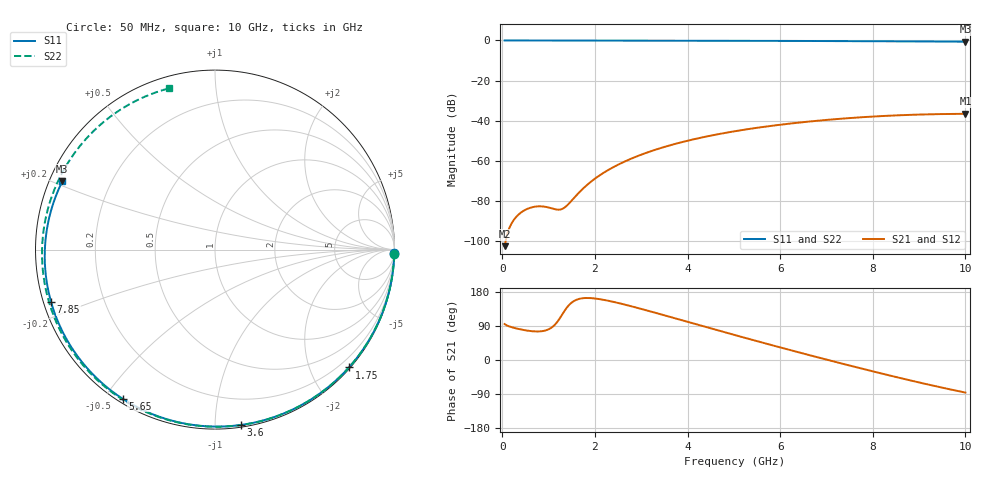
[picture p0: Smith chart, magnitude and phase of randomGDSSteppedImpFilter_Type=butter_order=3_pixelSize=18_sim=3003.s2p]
! freq	dB(S11)	phase(S11)	dB(S12)	phase(S12)
!  dB(S21)	phase(S21)	dB(S22)	phase(S22)
!S-par simulation data
#  GHz  S  DB  R 50
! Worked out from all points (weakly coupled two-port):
!   200 points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, 50 MHz to 10 GHz, reference 50 ohm
!   highest |S21| = -36.57 dB at 10 GHz (marker M1); lowest = -102.5 dB at 50 MHz (marker M2)
!   lowest |S11| = -0.6 dB at 10 GHz (marker M3), VSWR 28.30, Z = 1.85 + j10.6 ohm
!   |S11| at or under -10 dB: nowhere
!   |S22| runs from -0.6 to 0.0 dB; largest |S21 - S12| = 0
!   S11 on the Smith chart (normalised r, x): 50 MHz: 1, -98; 1.75 GHz: 0.02, -2.65; 3.6 GHz: 0.01, -1.16; 5.65 GHz: 0.01, -0.56; 7.85 GHz: 0.02, -0.16; 10 GHz: 0.04, +0.21
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0.05  -0.00 -1.2  -102.53 94.9  -102.53 94.9  -0.00 -1.5
0.4  -0.02 -9.6  -85.83 80.6  -85.83 80.6  -0.02 -12.3
0.7  -0.02 -16.8  -82.87 75.5  -82.87 75.5  -0.03 -21.5
1.05  -0.03 -25.1  -83.56 84.4  -83.56 84.4  -0.04 -32.1
1.45  -0.04 -34.4  -81.03 146.2  -81.03 146.2  -0.06 -44.0
1.5  -0.05 -35.6  -79.76 151.7  -79.76 151.7  -0.06 -45.5
1.75  -0.05 -41.3  -73.69 163.2  -73.69 163.2  -0.07 -52.7
2.05  -0.06 -48.1  -68.07 161.6  -68.07 161.6  -0.08 -61.3
2.45  -0.07 -57.1  -62.52 152.0  -62.52 152.0  -0.09 -72.4
2.9  -0.09 -66.9  -57.82 138.1  -57.82 138.1  -0.11 -84.5
3.4  -0.10 -77.5  -53.78 121.4  -53.78 121.4  -0.12 -97.4
3.6  -0.11 -81.6  -52.41 114.6  -52.41 114.6  -0.13 -102.4
4.3  -0.13 -95.8  -48.40 90.5  -48.40 90.5  -0.16 -119.5
5.05  -0.17 -110.5  -45.13 64.9  -45.13 64.9  -0.20 -137.0
5.65  -0.20 -121.8  -43.05 44.8  -43.05 44.8  -0.23 -150.7
6.2  -0.23 -132.0  -41.47 26.7  -41.47 26.7  -0.27 -163.0
6.7  -0.27 -141.2  -40.25 10.6  -40.25 10.6  -0.30 -174.3
7.3  -0.32 -152.2  -39.03 -8.4  -39.03 -8.4  -0.35 172.2
7.85  -0.37 -162.3  -38.14 -25.4  -38.14 -25.4  -0.40 159.5
8.35  -0.42 -171.6  -37.51 -40.4  -37.51 -40.4  -0.44 147.6
9.25  -0.52 171.1  -36.79 -66.2  -36.79 -66.2  -0.52 125.4
10  -0.61 155.9  -36.57 -86.0  -36.57 -86.0  -0.59 105.8
